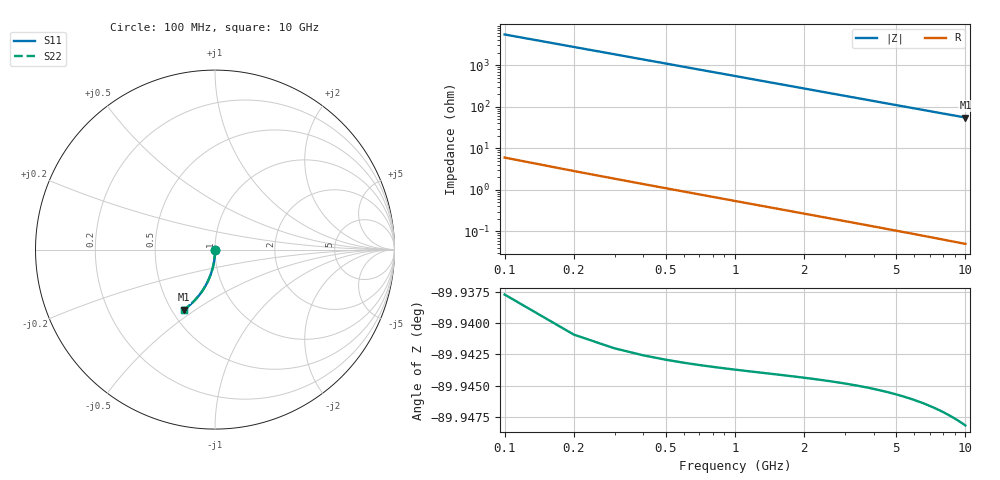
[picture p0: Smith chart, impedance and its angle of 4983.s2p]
# Hz S RI R 50.00
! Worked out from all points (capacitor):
!   100 points, 100 MHz to 10 GHz, reference 50 ohm
!   read as one part in shunt: C = 288 fF near 100 MHz
!   lowest |Z| = 55.4 ohm at 10 GHz (marker M1)
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1e8  0.000145 -0.00408  0.9998 -0.00497  0.9998 -0.00497  0.000145 -0.00408
2e8  8.13e-05 -0.00816  0.9997 -0.00994  0.9997 -0.00994  8.13e-05 -0.00816
3e8  -2.36e-05 -0.0122  0.9996 -0.0149  0.9996 -0.0149  -2.36e-05 -0.0122
4e8  -0.000169 -0.0163  0.9995 -0.0199  0.9995 -0.0199  -0.000169 -0.0163
5e8  -0.000356 -0.0204  0.9993 -0.0248  0.9993 -0.0248  -0.000356 -0.0204
6e8  -0.000582 -0.0245  0.9991 -0.0298  0.9991 -0.0298  -0.000582 -0.0245
7e8  -0.00085 -0.0285  0.9988 -0.0348  0.9988 -0.0348  -0.00085 -0.0285
8e8  -0.00116 -0.0326  0.9985 -0.0397  0.9985 -0.0397  -0.00116 -0.0326
9e8  -0.00151 -0.0367  0.9981 -0.0447  0.9981 -0.0447  -0.00151 -0.0367
1.1e9  -0.00232 -0.0448  0.9973 -0.0546  0.9973 -0.0546  -0.00232 -0.0448
1.4e9  -0.00385 -0.0569  0.9957 -0.0694  0.9957 -0.0694  -0.00385 -0.0569
1.8e9  -0.00644 -0.073  0.9931 -0.089  0.9931 -0.089  -0.00644 -0.073
2.1e9  -0.0088 -0.085  0.9907 -0.1037  0.9907 -0.1037  -0.0088 -0.085
2.5e9  -0.0125 -0.1008  0.9869 -0.1231  0.9869 -0.1231  -0.0125 -0.1008
2.9e9  -0.0168 -0.1164  0.9825 -0.1422  0.9825 -0.1422  -0.0168 -0.1164
3.4e9  -0.023 -0.1356  0.9762 -0.1659  0.9762 -0.1659  -0.023 -0.1356
4.2e9  -0.0348 -0.1655  0.9641 -0.203  0.9641 -0.203  -0.0348 -0.1655
5.1e9  -0.0507 -0.1976  0.9479 -0.2431  0.9479 -0.2431  -0.0507 -0.1976
5.9e9  -0.0669 -0.2245  0.9313 -0.2773  0.9313 -0.2773  -0.0669 -0.2245
6.7e9  -0.0849 -0.2498  0.9129 -0.3099  0.9129 -0.3099  -0.0849 -0.2498
8.4e9  -0.128 -0.2976  0.8687 -0.3732  0.8687 -0.3732  -0.128 -0.2976
1e10  -0.1732 -0.3347  0.8223 -0.425  0.8223 -0.425  -0.1732 -0.3347
